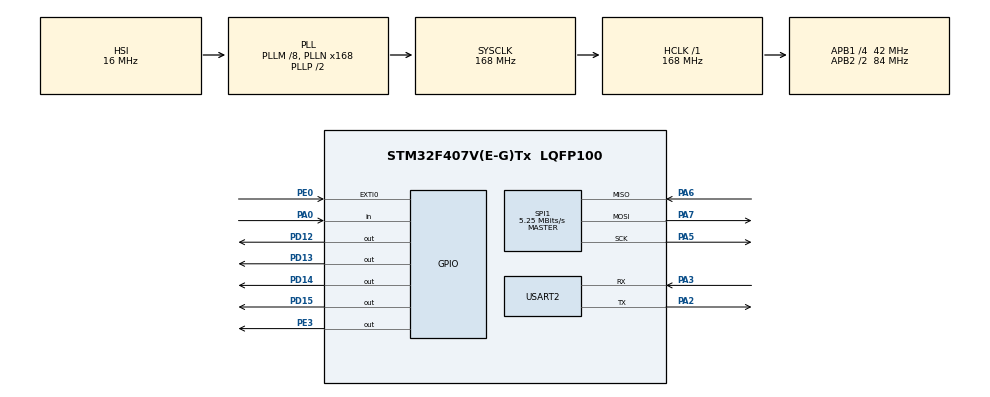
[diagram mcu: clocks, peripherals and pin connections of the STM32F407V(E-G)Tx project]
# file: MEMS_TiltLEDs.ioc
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Dma.Request0=SPI1_RX
Dma.Request1=SPI1_TX
Dma.SPI1_RX.0.Direction=DMA_PERIPH_TO_MEMORY
Dma.SPI1_RX.0.FIFOMode=DMA_FIFOMODE_DISABLE
Dma.SPI1_RX.0.Instance=DMA2_Stream0
Dma.SPI1_RX.0.MemDataAlignment=DMA_MDATAALIGN_BYTE
Dma.SPI1_RX.0.MemInc=DMA_MINC_ENABLE
Dma.SPI1_RX.0.Mode=DMA_NORMAL
Dma.SPI1_RX.0.PeriphDataAlignment=DMA_PDATAALIGN_BYTE
Dma.SPI1_RX.0.PeriphInc=DMA_PINC_DISABLE
Dma.SPI1_RX.0.Priority=DMA_PRIORITY_LOW
Dma.SPI1_TX.1.Direction=DMA_MEMORY_TO_PERIPH
Dma.SPI1_TX.1.FIFOMode=DMA_FIFOMODE_DISABLE
Dma.SPI1_TX.1.Instance=DMA2_Stream3
Dma.SPI1_TX.1.MemDataAlignment=DMA_MDATAALIGN_BYTE
Dma.SPI1_TX.1.MemInc=DMA_MINC_ENABLE
Dma.SPI1_TX.1.Mode=DMA_NORMAL
Dma.SPI1_TX.1.PeriphDataAlignment=DMA_PDATAALIGN_BYTE
Dma.SPI1_TX.1.PeriphInc=DMA_PINC_DISABLE
Dma.SPI1_TX.1.Priority=DMA_PRIORITY_LOW
Mcu.Family=STM32F4
Mcu.Name=STM32F407V(E-G)Tx
Mcu.Package=LQFP100
NVIC.DMA2_Stream0_IRQn=true\:0\:0\:false\:false\:true\:false\:true\:true
NVIC.DMA2_Stream3_IRQn=true\:0\:0\:false\:false\:true\:false\:true\:true
NVIC.EXTI0_IRQn=true\:0\:0\:false\:false\:true\:true\:true\:true
NVIC.PriorityGroup=NVIC_PRIORITYGROUP_4
NVIC.SPI1_IRQn=true\:0\:0\:false\:false\:true\:true\:true\:true
NVIC.TIM2_IRQn=true\:0\:0\:false\:false\:true\:true\:true\:true
PA0-WKUP.Signal=GPIO_Input
PA2.Mode=Asynchronous
PA2.Signal=USART2_TX
PA3.Mode=Asynchronous
PA3.Signal=USART2_RX
PA5.Mode=Full_Duplex_Master
PA5.Signal=SPI1_SCK
PA6.Mode=Full_Duplex_Master
PA6.Signal=SPI1_MISO
PA7.Mode=Full_Duplex_Master
PA7.Signal=SPI1_MOSI
PD12.Signal=GPIO_Output
PD13.Signal=GPIO_Output
PD14.Signal=GPIO_Output
PD15.Signal=GPIO_Output
PE0.Signal=GPXTI0
PE3.Signal=GPIO_Output
ProjectManager.HeapSize=0x200
ProjectManager.StackSize=0x400
ProjectManager.TargetToolchain=STM32CubeIDE
RCC.48MHZClocksFreq_Value=84000000
RCC.AHBFreq_Value=168000000
RCC.APB1CLKDivider=RCC_HCLK_DIV4
RCC.APB1Freq_Value=42000000
RCC.APB1TimFreq_Value=84000000
RCC.APB2CLKDivider=RCC_HCLK_DIV2
RCC.APB2Freq_Value=84000000
RCC.APB2TimFreq_Value=168000000
RCC.CortexFreq_Value=168000000
RCC.HCLKFreq_Value=168000000
RCC.HSE_VALUE=25000000
RCC.HSI_VALUE=16000000
RCC.LSE_VALUE=32768
RCC.PLLM=8
RCC.PLLN=168
RCC.SYSCLKFreq_VALUE=168000000
RCC.SYSCLKSource=RCC_SYSCLKSOURCE_PLLCLK
RCC.VCOOutputFreq_Value=336000000
SPI1.BaudRatePrescaler=SPI_BAUDRATEPRESCALER_16
SPI1.CLKPhase=SPI_PHASE_2EDGE
SPI1.CLKPolarity=SPI_POLARITY_HIGH
SPI1.CalculateBaudRate=5.25 MBits/s
SPI1.Direction=SPI_DIRECTION_2LINES
SPI1.Mode=SPI_MODE_MASTER
SPI1.VirtualType=VM_MASTER
TIM2.Period=1999
TIM2.Prescaler=4199
USART2.VirtualMode=VM_ASYNC
VP_TIM2_VS_ClockSourceINT.Mode=Internal
board=custom

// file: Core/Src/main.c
/* USER CODE BEGIN Header */
/**
  ******************************************************************************
  * @file           : main.c
  * @brief          : Main program body
  ******************************************************************************
  * @attention
  *
  * Copyright (c) 2026 STMicroelectronics.
  * All rights reserved.
  *
  * This software is licensed under terms that can be found in the LICENSE file
  * in the root directory of this software component.
  * If no LICENSE file comes with this software, it is provided AS-IS.
  *
  ******************************************************************************
  */
/* USER CODE END Header */
#include "main.h"

/* USER CODE BEGIN Includes */
#include <stdio.h>
#include <LIS3DSHTR.h>
#include <stdlib.h>
/* USER CODE END Includes */

SPI_HandleTypeDef hspi1;
DMA_HandleTypeDef hdma_spi1_rx;
DMA_HandleTypeDef hdma_spi1_tx;

TIM_HandleTypeDef htim2;

UART_HandleTypeDef huart2;

/* USER CODE BEGIN PV */

/* Flags */
volatile uint8_t data_ready = 0;
volatile uint8_t dma_done = 0;
volatile uint8_t calibrated = 0;
volatile uint8_t tim_tick = 0;

/* DMA buffers */
uint8_t spi_tx_buf[7];
uint8_t spi_rx_buf[7];

/* Baseline from calibration */
int16_t baseline_x = 0;
int16_t baseline_y = 0;

/* LED rotation state for calibration animation */
uint8_t led_state = 0;

/* LIS3 handle */
LIS3_HandleTypeDef hlis;
LIS3_DataTypeDef data;

/* Tilt threshold */
#define TILT_THRESHOLD 3000

/* USER CODE END PV */

void SystemClock_Config(void);
static void MX_GPIO_Init(void);
static void MX_DMA_Init(void);
static void MX_SPI1_Init(void);
static void MX_USART2_UART_Init(void);
static void MX_TIM2_Init(void);

int main(void)
{

  /* MCU Configuration--------------------------------------------------------*/

  /* Reset of all peripherals, Initializes the Flash interface and the Systick. */
  HAL_Init();

  /* Configure the system clock */
  SystemClock_Config();

  /* Initialize all configured peripherals */
  MX_GPIO_Init();
  MX_DMA_Init();
  MX_SPI1_Init();
  MX_USART2_UART_Init();
  MX_TIM2_Init();
  /* USER CODE BEGIN 2 */
  /* LIS3 handle setup */
  hlis.hspi    = &hspi1;
  hlis.cs_port = GPIOE;
  hlis.cs_pin  = GPIO_PIN_3;

  LIS3_Init(&hlis);
  LIS3_WriteReg(&hlis, LIS3_CTRL_REG3, LIS3_CTRL_REG3_DRDY_INT1);

  /* Prepare TX buffer for multi-byte DMA read */
  spi_tx_buf[0] = LIS3_OUT_X_L | 0x80;
  spi_tx_buf[1] = 0x00;
  spi_tx_buf[2] = 0x00;
  spi_tx_buf[3] = 0x00;
  spi_tx_buf[4] = 0x00;
  spi_tx_buf[5] = 0x00;
  spi_tx_buf[6] = 0x00;

  /* Start calibration animation */
  HAL_TIM_Base_Start_IT(&htim2);
  /* USER CODE END 2 */

  /* Infinite loop */
  while (1)
  {

    /* USER CODE BEGIN 3 */
	  while (1)
	  {
	      /* ── PHASE 1: Calibration ── */
	      if (!calibrated)
	      {
	          /* Rotate LEDs anticlockwise: PD13 -> PD12 -> PD15 -> PD14 */
	          if (tim_tick)
	          {
	              tim_tick = 0;
	              HAL_GPIO_WritePin(GPIOD, GPIO_PIN_12|GPIO_PIN_13|GPIO_PIN_14|GPIO_PIN_15, GPIO_PIN_RESET);
	              switch (led_state)
	              {
	                  case 0: HAL_GPIO_WritePin(GPIOD, GPIO_PIN_13, GPIO_PIN_SET); break;
	                  case 1: HAL_GPIO_WritePin(GPIOD, GPIO_PIN_12, GPIO_PIN_SET); break;
	                  case 2: HAL_GPIO_WritePin(GPIOD, GPIO_PIN_15, GPIO_PIN_SET); break;
	                  case 3: HAL_GPIO_WritePin(GPIOD, GPIO_PIN_14, GPIO_PIN_SET); break;
	              }
	              led_state = (led_state + 1) % 4;

	              /* Live XYZ preview during calibration */
	              uint8_t tx = LIS3_OUT_X_L | 0x80;
	              uint8_t rx[6] = {0};
	              HAL_GPIO_WritePin(GPIOE, GPIO_PIN_3, GPIO_PIN_RESET);
	              HAL_SPI_Transmit(&hspi1, &tx, 1, HAL_MAX_DELAY);
	              HAL_SPI_Receive(&hspi1, rx, 6, HAL_MAX_DELAY);
	              HAL_GPIO_WritePin(GPIOE, GPIO_PIN_3, GPIO_PIN_SET);

	              int16_t px = (int16_t)(rx[1] << 8 | rx[0]);
	              int16_t py = (int16_t)(rx[3] << 8 | rx[2]);
	              int16_t pz = (int16_t)(rx[5] << 8 | rx[4]);

	              printf("X: %6d  Y: %6d  Z: %6d\r", px, py, pz);
	          }

	          /* Poll button - PA0, active HIGH, external pull-down */
	          if (HAL_GPIO_ReadPin(GPIOA, GPIO_PIN_0) == GPIO_PIN_SET)
	          {
	              HAL_Delay(50); // debounce
	              if (HAL_GPIO_ReadPin(GPIOA, GPIO_PIN_0) == GPIO_PIN_SET)
	              {
	                  /* Take 10 samples and average */
	                  int32_t sum_x = 0, sum_y = 0;
	                  for (int i = 0; i < 10; i++)
	                  {
	                      /* Blocking read for calibration */
	                      uint8_t tx = LIS3_OUT_X_L | 0x80;
	                      uint8_t rx[6] = {0};
	                      HAL_GPIO_WritePin(GPIOE, GPIO_PIN_3, GPIO_PIN_RESET);
	                      HAL_SPI_Transmit(&hspi1, &tx, 1, HAL_MAX_DELAY);
	                      HAL_SPI_Receive(&hspi1, rx, 6, HAL_MAX_DELAY);
	                      HAL_GPIO_WritePin(GPIOE, GPIO_PIN_3, GPIO_PIN_SET);

	                      sum_x += (int16_t)(rx[1] << 8 | rx[0]);
	                      sum_y += (int16_t)(rx[3] << 8 | rx[2]);
	                      HAL_Delay(10);
	                  }
	                  baseline_x = sum_x / 10;
	                  baseline_y = sum_y / 10;

	                  /* Stop animation, all LEDs off */
	                  HAL_TIM_Base_Stop_IT(&htim2);
	                  HAL_GPIO_WritePin(GPIOD, GPIO_PIN_12|GPIO_PIN_13|GPIO_PIN_14|GPIO_PIN_15, GPIO_PIN_RESET);
	                  calibrated = 1;

	                  printf("Calibrated. Baseline X: %d  Y: %d\r\n", baseline_x, baseline_y);

	                  /* Wait for button release */
	                  while (HAL_GPIO_ReadPin(GPIOA, GPIO_PIN_0) == GPIO_PIN_SET);
	              }
	          }
	      }

	      /* ── PHASE 2: Tilt detection ── */
	      if (calibrated)
	      {
	          if (data_ready)
	          {
	              data_ready = 0;
	              HAL_GPIO_WritePin(GPIOE, GPIO_PIN_3, GPIO_PIN_RESET);
	              HAL_SPI_TransmitReceive_DMA(&hspi1, spi_tx_buf, spi_rx_buf, 7);
	          }

	          if (dma_done)
	          {
	              dma_done = 0;

	              int16_t x = (int16_t)(spi_rx_buf[2] << 8 | spi_rx_buf[1]);
	              int16_t y = (int16_t)(spi_rx_buf[4] << 8 | spi_rx_buf[3]);

	              int16_t dx = x - baseline_x;
	              int16_t dy = y - baseline_y;

	              /* All LEDs off first */
	              HAL_GPIO_WritePin(GPIOD, GPIO_PIN_12|GPIO_PIN_13|GPIO_PIN_14|GPIO_PIN_15, GPIO_PIN_RESET);

	              /* Light correct LED based on dominant tilt axis */
	              if (abs(dx) > abs(dy))
	              {
	                  if (dx >  TILT_THRESHOLD) HAL_GPIO_WritePin(GPIOD, GPIO_PIN_14, GPIO_PIN_SET); // East
	                  if (dx < -TILT_THRESHOLD) HAL_GPIO_WritePin(GPIOD, GPIO_PIN_12, GPIO_PIN_SET); // West
	              }
	              else
	              {
	                  if (dy >  TILT_THRESHOLD) HAL_GPIO_WritePin(GPIOD, GPIO_PIN_13, GPIO_PIN_SET); // North
	                  if (dy < -TILT_THRESHOLD) HAL_GPIO_WritePin(GPIOD, GPIO_PIN_15, GPIO_PIN_SET); // South
	              }

	              /* Live XYZ and delta values for monitoring */
	              printf("X: %6d  Y: %6d  dx: %6d  dy: %6d\r", x, y, dx, dy);
	          }
	      }
	  }
  }
  /* USER CODE END 3 */
}

void SystemClock_Config(void)
{
  RCC_OscInitTypeDef RCC_OscInitStruct = {0};
  RCC_ClkInitTypeDef RCC_ClkInitStruct = {0};

  /** Configure the main internal regulator output voltage
  */
  __HAL_RCC_PWR_CLK_ENABLE();
  __HAL_PWR_VOLTAGESCALING_CONFIG(PWR_REGULATOR_VOLTAGE_SCALE1);

  /** Initializes the RCC Oscillators according to the specified parameters
  * in the RCC_OscInitTypeDef structure.
  */
  RCC_OscInitStruct.OscillatorType = RCC_OSCILLATORTYPE_HSI;
  RCC_OscInitStruct.HSIState = RCC_HSI_ON;
  RCC_OscInitStruct.HSICalibrationValue = RCC_HSICALIBRATION_DEFAULT;
  RCC_OscInitStruct.PLL.PLLState = RCC_PLL_ON;
  RCC_OscInitStruct.PLL.PLLSource = RCC_PLLSOURCE_HSI;
  RCC_OscInitStruct.PLL.PLLM = 8;
  RCC_OscInitStruct.PLL.PLLN = 168;
  RCC_OscInitStruct.PLL.PLLP = RCC_PLLP_DIV2;
  RCC_OscInitStruct.PLL.PLLQ = 4;
  if (HAL_RCC_OscConfig(&RCC_OscInitStruct) != HAL_OK)
  {
    Error_Handler();
  }

  /** Initializes the CPU, AHB and APB buses clocks
  */
  RCC_ClkInitStruct.ClockType = RCC_CLOCKTYPE_HCLK|RCC_CLOCKTYPE_SYSCLK
                              |RCC_CLOCKTYPE_PCLK1|RCC_CLOCKTYPE_PCLK2;
  RCC_ClkInitStruct.SYSCLKSource = RCC_SYSCLKSOURCE_PLLCLK;
  RCC_ClkInitStruct.AHBCLKDivider = RCC_SYSCLK_DIV1;
  RCC_ClkInitStruct.APB1CLKDivider = RCC_HCLK_DIV4;
  RCC_ClkInitStruct.APB2CLKDivider = RCC_HCLK_DIV2;

  if (HAL_RCC_ClockConfig(&RCC_ClkInitStruct, FLASH_LATENCY_5) != HAL_OK)
  {
    Error_Handler();
  }
}

static void MX_SPI1_Init(void)
{

  /* SPI1 parameter configuration*/
  hspi1.Instance = SPI1;
  hspi1.Init.Mode = SPI_MODE_MASTER;
  hspi1.Init.Direction = SPI_DIRECTION_2LINES;
  hspi1.Init.DataSize = SPI_DATASIZE_8BIT;
  hspi1.Init.CLKPolarity = SPI_POLARITY_HIGH;
  hspi1.Init.CLKPhase = SPI_PHASE_2EDGE;
  hspi1.Init.NSS = SPI_NSS_SOFT;
  hspi1.Init.BaudRatePrescaler = SPI_BAUDRATEPRESCALER_16;
  hspi1.Init.FirstBit = SPI_FIRSTBIT_MSB;
  hspi1.Init.TIMode = SPI_TIMODE_DISABLE;
  hspi1.Init.CRCCalculation = SPI_CRCCALCULATION_DISABLE;
  hspi1.Init.CRCPolynomial = 10;
  if (HAL_SPI_Init(&hspi1) != HAL_OK)
  {
    Error_Handler();
  }

}

static void MX_TIM2_Init(void)
{

  TIM_ClockConfigTypeDef sClockSourceConfig = {0};
  TIM_MasterConfigTypeDef sMasterConfig = {0};

  htim2.Instance = TIM2;
  htim2.Init.Prescaler = 4199;
  htim2.Init.CounterMode = TIM_COUNTERMODE_UP;
  htim2.Init.Period = 1999;
  htim2.Init.ClockDivision = TIM_CLOCKDIVISION_DIV1;
  htim2.Init.AutoReloadPreload = TIM_AUTORELOAD_PRELOAD_DISABLE;
  if (HAL_TIM_Base_Init(&htim2) != HAL_OK)
  {
    Error_Handler();
  }
  sClockSourceConfig.ClockSource = TIM_CLOCKSOURCE_INTERNAL;
  if (HAL_TIM_ConfigClockSource(&htim2, &sClockSourceConfig) != HAL_OK)
  {
    Error_Handler();
  }
  sMasterConfig.MasterOutputTrigger = TIM_TRGO_RESET;
  sMasterConfig.MasterSlaveMode = TIM_MASTERSLAVEMODE_DISABLE;
  if (HAL_TIMEx_MasterConfigSynchronization(&htim2, &sMasterConfig) != HAL_OK)
  {
    Error_Handler();
  }

}

static void MX_USART2_UART_Init(void)
{

  huart2.Instance = USART2;
  huart2.Init.BaudRate = 115200;
  huart2.Init.WordLength = UART_WORDLENGTH_8B;
  huart2.Init.StopBits = UART_STOPBITS_1;
  huart2.Init.Parity = UART_PARITY_NONE;
  huart2.Init.Mode = UART_MODE_TX_RX;
  huart2.Init.HwFlowCtl = UART_HWCONTROL_NONE;
  huart2.Init.OverSampling = UART_OVERSAMPLING_16;
  if (HAL_UART_Init(&huart2) != HAL_OK)
  {
    Error_Handler();
  }

}

static void MX_DMA_Init(void)
{

  /* DMA controller clock enable */
  __HAL_RCC_DMA2_CLK_ENABLE();

  /* DMA interrupt init */
  /* DMA2_Stream0_IRQn interrupt configuration */
  HAL_NVIC_SetPriority(DMA2_Stream0_IRQn, 0, 0);
  HAL_NVIC_EnableIRQ(DMA2_Stream0_IRQn);
  /* DMA2_Stream3_IRQn interrupt configuration */
  HAL_NVIC_SetPriority(DMA2_Stream3_IRQn, 0, 0);
  HAL_NVIC_EnableIRQ(DMA2_Stream3_IRQn);

}

static void MX_GPIO_Init(void)
{
  GPIO_InitTypeDef GPIO_InitStruct = {0};

  /* GPIO Ports Clock Enable */
  __HAL_RCC_GPIOE_CLK_ENABLE();
  __HAL_RCC_GPIOA_CLK_ENABLE();
  __HAL_RCC_GPIOD_CLK_ENABLE();

  /*Configure GPIO pin Output Level */
  HAL_GPIO_WritePin(GPIOE, GPIO_PIN_3, GPIO_PIN_RESET);

  /*Configure GPIO pin Output Level */
  HAL_GPIO_WritePin(GPIOD, GPIO_PIN_12|GPIO_PIN_13|GPIO_PIN_14|GPIO_PIN_15, GPIO_PIN_RESET);

  /*Configure GPIO pin : PE3 */
  GPIO_InitStruct.Pin = GPIO_PIN_3;
  GPIO_InitStruct.Mode = GPIO_MODE_OUTPUT_PP;
  GPIO_InitStruct.Pull = GPIO_NOPULL;
  GPIO_InitStruct.Speed = GPIO_SPEED_FREQ_LOW;
  HAL_GPIO_Init(GPIOE, &GPIO_InitStruct);

  /*Configure GPIO pin : PA0 */
  GPIO_InitStruct.Pin = GPIO_PIN_0;
  GPIO_InitStruct.Mode = GPIO_MODE_INPUT;
  GPIO_InitStruct.Pull = GPIO_NOPULL;
  HAL_GPIO_Init(GPIOA, &GPIO_InitStruct);

  /*Configure GPIO pins : PD12 PD13 PD14 PD15 */
  GPIO_InitStruct.Pin = GPIO_PIN_12|GPIO_PIN_13|GPIO_PIN_14|GPIO_PIN_15;
  GPIO_InitStruct.Mode = GPIO_MODE_OUTPUT_PP;
  GPIO_InitStruct.Pull = GPIO_NOPULL;
  GPIO_InitStruct.Speed = GPIO_SPEED_FREQ_LOW;
  HAL_GPIO_Init(GPIOD, &GPIO_InitStruct);

  /*Configure GPIO pin : PE0 */
  GPIO_InitStruct.Pin = GPIO_PIN_0;
  GPIO_InitStruct.Mode = GPIO_MODE_IT_RISING;
  GPIO_InitStruct.Pull = GPIO_NOPULL;
  HAL_GPIO_Init(GPIOE, &GPIO_InitStruct);

  /* EXTI interrupt init*/
  HAL_NVIC_SetPriority(EXTI0_IRQn, 0, 0);
  HAL_NVIC_EnableIRQ(EXTI0_IRQn);

}

/* USER CODE BEGIN 4 */

/* DRDY interrupt - sensor has new data */
void HAL_GPIO_EXTI_Callback(uint16_t GPIO_Pin)
{
    if (GPIO_Pin == GPIO_PIN_0)
    {
        data_ready = 1;
    }
}

/* DMA transfer complete */
void HAL_SPI_TxRxCpltCallback(SPI_HandleTypeDef *hspi)
{
    if (hspi->Instance == SPI1)
    {
        HAL_GPIO_WritePin(GPIOE, GPIO_PIN_3, GPIO_PIN_SET); // CS HIGH
        dma_done = 1;
    }
}

/* TIM2 - rotating LED animation during calibration */
void HAL_TIM_PeriodElapsedCallback(TIM_HandleTypeDef *htim)
{
    if (htim->Instance == TIM2)
    {
        tim_tick = 1;
    }
}

/* printf redirect */
int _write(int file, char *ptr, int len)
  {
      HAL_UART_Transmit(&huart2, (uint8_t*)ptr, len, HAL_MAX_DELAY);
      return len;
  }
/* USER CODE END 4 */

void Error_Handler(void)
{
  __disable_irq();
  while (1)
  {
  }
}
